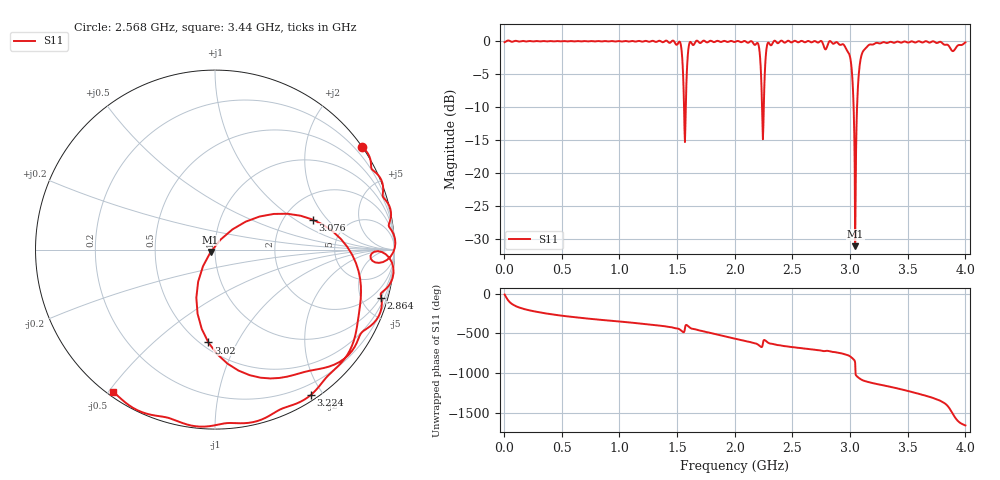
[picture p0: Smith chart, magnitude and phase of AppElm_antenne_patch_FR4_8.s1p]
! TOUCHSTONE file generated by CST MICROWAVE STUDIO
! Date and time: Tue Jun  7 19:07:20 2022
! Project name: AppElm_antenne_patch_FR4.cst
! Parameters = {L=45; W=64.35; e=0.035; h=1.6; lambda=0.190476; ls=120; w0=1.6; w1=0.533333; ws=120; y0=20; y1=23.8095}
! Header version: 2018
! Port assignment regex: !\s*Touchstone port\s*([0-9]+)\s*=\s*(CST MWS port|CST DS port)\s*([0-9]+|Zmin|Zmax)\s*\(\"(.*)\"\)(\s*mode\s*([0-9]+))?.*
! Touchstone port assignment:
! Touchstone port 1 = CST MWS port 1 ("")
# GHz S MA R 50
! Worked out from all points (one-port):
!   1000 points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, 4 MHz to 4 GHz, reference 50 ohm
!   lowest |S11| = -31.1 dB at 3.044 GHz (marker M1), VSWR 1.06, Z = 47.6 - j1.27 ohm
!   |S11| at or under -10 dB: 1.56 GHz to 1.575 GHz (15.16 MHz wide, 0.967 % of centre); 2.236 GHz to 2.252 GHz (15.07 MHz wide, 0.672 % of centre); 3.031 GHz to 3.06 GHz (29.9 MHz wide, 0.982 % of centre)
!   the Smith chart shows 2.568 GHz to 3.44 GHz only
!   S11 on the Smith chart (normalised r, x): 2.568 GHz: 0.01, +3.19; 2.864 GHz: 0.90, -6.91; 3.02 GHz: 0.54, -0.77; 3.076 GHz: 2.87, +1.42; 3.224 GHz: 0.07, -1.86; 3.44 GHz: 0.02, -0.51
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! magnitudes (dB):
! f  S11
! 4 MHz  -0.1
! 504 MHz  0.0
! 1.004 GHz  0.0
! 1.504 GHz  -0.4
! 1.532 GHz  -0.5
! 1.556 GHz  -7.2
! 1.568 GHz  -15.3
! 1.6 GHz  -0.9
! 1.62 GHz  -0.2
! 2.004 GHz  -0.1
! 2.196 GHz  -0.3
! 2.244 GHz  -14.9
! 2.292 GHz  -0.2
! 2.504 GHz  -0.1
! 2.568 GHz  0.0
! 2.864 GHz  -0.3
! 2.952 GHz  -0.7
! 3.004 GHz  -2.8
! 3.02 GHz  -5.7
! 3.028 GHz  -8.6
! 3.044 GHz  -31.1
! 3.06 GHz  -10.2
! 3.076 GHz  -4.9
! 3.112 GHz  -1.5
! 3.224 GHz  -0.3
! 3.44 GHz  -0.2
! 3.504 GHz  -0.2
! 4 GHz  -0.2
